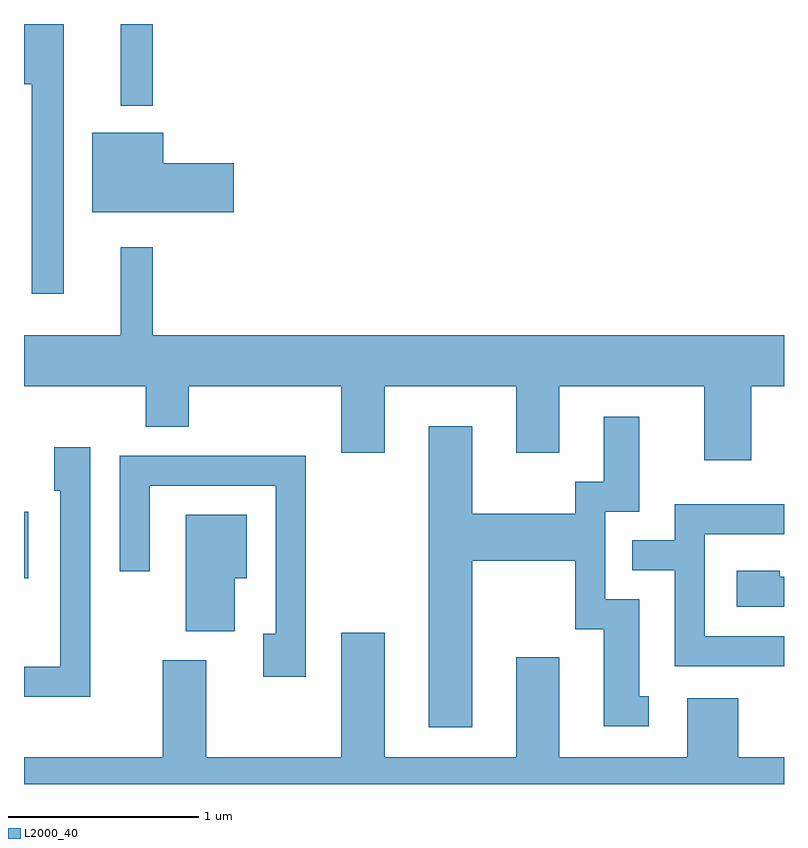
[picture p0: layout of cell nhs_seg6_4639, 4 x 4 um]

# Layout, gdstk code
import gdstk
lib = gdstk.Library(unit=1e-6, precision=1e-09)
def R(c, l, rs):  # rectangles x0, y0, x1, y1
    for r in rs: c.add(gdstk.rectangle(r[:2], r[2:], *l))
def P(c, l, *ps):  # polygons
    for p in ps: c.add(gdstk.Polygon(p, *l))
L2000_40 = (2000, 40)

nhs_seg6_4639 = lib.new_cell('nhs_seg6_4639')
R(nhs_seg6_4639, L2000_40, [(327.611,1551.246,327.634,1551.594), (328.121,1553.733,328.289,1554.162)])
P(nhs_seg6_4639, L2000_40, [(327.819,1554.162),(327.611,1554.162),(327.611,1553.846),(327.651,1553.846),(327.651,1552.743),(327.819,1552.743)],
  [(328.714,1553.429),(328.344,1553.429),(328.344,1553.589),(327.971,1553.589),(327.971,1553.171),(328.714,1553.171)],
  [(331.439,1552.256),(331.611,1552.256),(331.611,1552.524),(328.289,1552.524),(328.289,1552.988),(328.121,1552.988),(328.121,1552.524),(327.611,1552.524),(327.611,1552.256),(328.251,1552.256),(328.251,1552.041),(328.479,1552.041),(328.479,1552.256),(329.281,1552.256),(329.281,1551.906),(329.509,1551.906),(329.509,1552.256),(330.201,1552.256),(330.201,1551.906),(330.429,1551.906),(330.429,1552.256),(331.191,1552.256),(331.191,1551.866),(331.439,1551.866)],
  [(329.969,1551.336),(330.511,1551.336),(330.511,1550.976),(330.661,1550.976),(330.661,1550.466),(330.898,1550.466),(330.898,1550.624),(330.849,1550.624),(330.849,1551.134),(330.669,1551.134),(330.669,1551.596),(330.849,1551.596),(330.849,1552.094),(330.661,1552.094),(330.661,1551.754),(330.511,1551.754),(330.511,1551.584),(329.969,1551.584),(329.969,1552.044),(329.741,1552.044),(329.741,1550.461),(329.969,1550.461)],
  [(327.959,1551.934),(327.771,1551.934),(327.771,1551.706),(327.801,1551.706),(327.801,1550.779),(327.611,1550.779),(327.611,1550.621),(327.959,1550.621)],
  [(329.094,1551.889),(328.116,1551.889),(328.116,1551.283),(328.274,1551.283),(328.274,1551.731),(328.936,1551.731),(328.936,1550.954),(328.871,1550.954),(328.871,1550.726),(329.094,1550.726)],
  [(331.611,1550.939),(331.194,1550.939),(331.194,1551.476),(331.611,1551.476),(331.611,1551.634),(331.036,1551.634),(331.036,1551.444),(330.813,1551.444),(330.813,1551.286),(331.036,1551.286),(331.036,1550.781),(331.611,1550.781)],
  [(328.719,1551.246),(328.784,1551.246),(328.784,1551.579),(328.461,1551.579),(328.461,1550.966),(328.719,1550.966)],
  [(331.611,1551.254),(331.589,1551.254),(331.589,1551.284),(331.361,1551.284),(331.361,1551.096),(331.611,1551.096)],
  [(331.611,1550.304),(331.369,1550.304),(331.369,1550.614),(331.101,1550.614),(331.101,1550.304),(330.429,1550.304),(330.429,1550.829),(330.201,1550.829),(330.201,1550.304),(329.509,1550.304),(329.509,1550.959),(329.281,1550.959),(329.281,1550.304),(328.569,1550.304),(328.569,1550.814),(328.341,1550.814),(328.341,1550.304),(327.611,1550.304),(327.611,1550.162),(331.611,1550.162)])

lib.write_gds('nhs_seg6_4639.gds')
